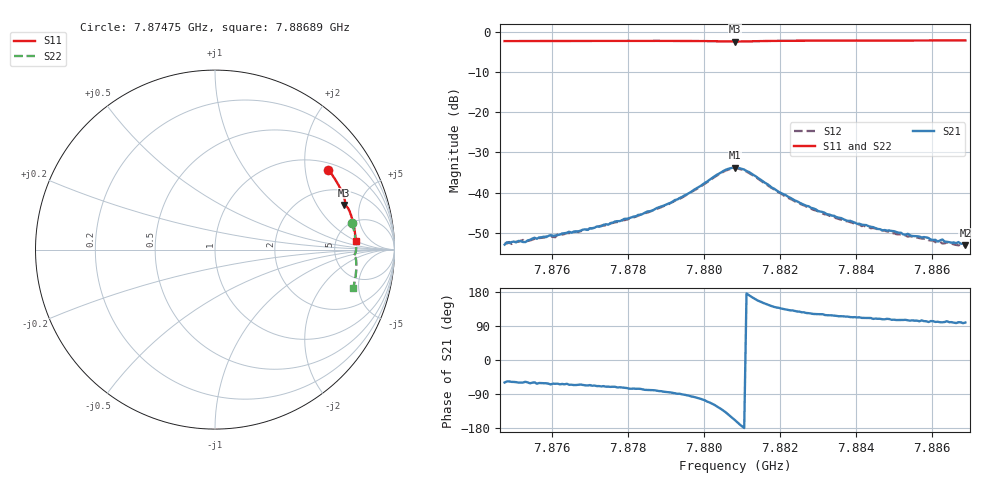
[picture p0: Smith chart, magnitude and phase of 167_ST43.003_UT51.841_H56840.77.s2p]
#  HZ  S  DB  R  50.00
! Rohde & Schwarz Vector Network Analyzer
! Rohde-Schwarz,ZNB20-2Port,1311601062101988,3.16
! Created: UTC 1/12/2023, 6:41:45 PM
! freq[Hz]  db:S11  ang:S11  db:S21  ang:S21  db:S12  ang:S12  db:S22  ang:S22
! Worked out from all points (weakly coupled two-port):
!   201 points, 7.87475 GHz to 7.88689 GHz, reference 50 ohm
!   highest |S21| = -33.81 dB at 7.88082 GHz (marker M1); lowest = -53.1 dB at 7.88689 GHz (marker M2)
!   lowest |S11| = -2.4 dB at 7.88082 GHz (marker M3), VSWR 7.42, Z = 149 + j178 ohm
!   |S11| at or under -10 dB: nowhere
!   |S22| runs from -2.3 to -1.9 dB; largest |S21 - S12| = 0.0013
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7.874755e9  -2.24 35.1  -52.99 -59.4  -52.60 -61.8  -2.19 11.1
7.874816e9  -2.24 35.0  -52.40 -56.7  -52.73 -59.5  -2.18 11.0
7.87524e9  -2.23 33.8  -52.35 -59.5  -51.85 -62.0  -2.17 10.0
7.875301e9  -2.23 33.6  -52.36 -57.5  -52.26 -62.9  -2.17 9.9
7.875543e9  -2.23 32.9  -51.27 -58.9  -51.54 -64.1  -2.16 9.3
7.876089e9  -2.22 31.5  -50.73 -62.8  -51.14 -67.7  -2.14 8.0
7.87615e9  -2.21 31.3  -50.61 -62.4  -50.42 -66.5  -2.14 7.9
7.876817e9  -2.21 29.5  -49.25 -66.0  -49.41 -69.8  -2.12 6.3
7.877484e9  -2.20 27.7  -48.02 -70.3  -47.98 -73.1  -2.11 4.7
7.878819e9  -2.19 24.0  -43.68 -81.9  -43.92 -85.2  -2.10 1.6
7.879547e9  -2.20 21.8  -40.49 -92.9  -40.58 -96.6  -2.09 -0.2
7.880578e9  -2.33 19.3  -34.32 -138.2  -34.52 -141.9  -2.23 -2.4
7.88082e9  -2.36 19.1  -33.81 -158.8  -34.02 -162.4  -2.26 -2.5
7.881063e9  -2.33 18.9  -34.29 -179.6  -34.47 177.2  -2.23 -2.6
7.881973e9  -2.18 16.7  -39.85 137.7  -39.97 134.1  -2.07 -4.3
7.882883e9  -2.14 14.1  -43.96 121.5  -44.30 118.8  -2.02 -6.5
7.884035e9  -2.12 11.0  -47.81 112.3  -47.95 109.4  -1.98 -9.1
7.884884e9  -2.11 8.8  -49.47 108.0  -49.78 105.3  -1.97 -11.0
7.884945e9  -2.11 8.6  -49.59 106.1  -50.32 102.7  -1.97 -11.1
7.886158e9  -2.09 5.5  -52.23 101.0  -52.19 98.4  -1.96 -13.8
7.886279e9  -2.09 5.1  -51.70 99.5  -52.71 96.4  -1.95 -14.0
7.886886e9  -2.09 3.6  -53.07 99.0  -53.38 93.3  -1.95 -15.4
